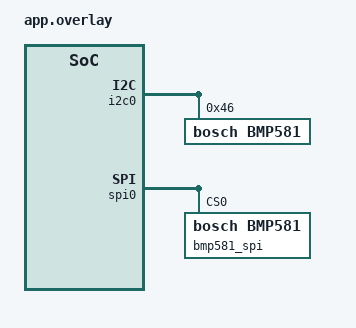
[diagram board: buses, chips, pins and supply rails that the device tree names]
/* Copyright (c) 2026 Meta Platforms
 * SPDX-License-Identifier: Apache-2.0
 */

&i2c0 {
	bmp581: bmp581@46 {
		compatible = "bosch,bmp581";
		reg = <0x46>;
	};
};

&spi0 {
	bmp581_spi: bmp581@0 {
		compatible = "bosch,bmp581";
		reg = <0>;
		spi-max-frequency = <0>;
	};
};
